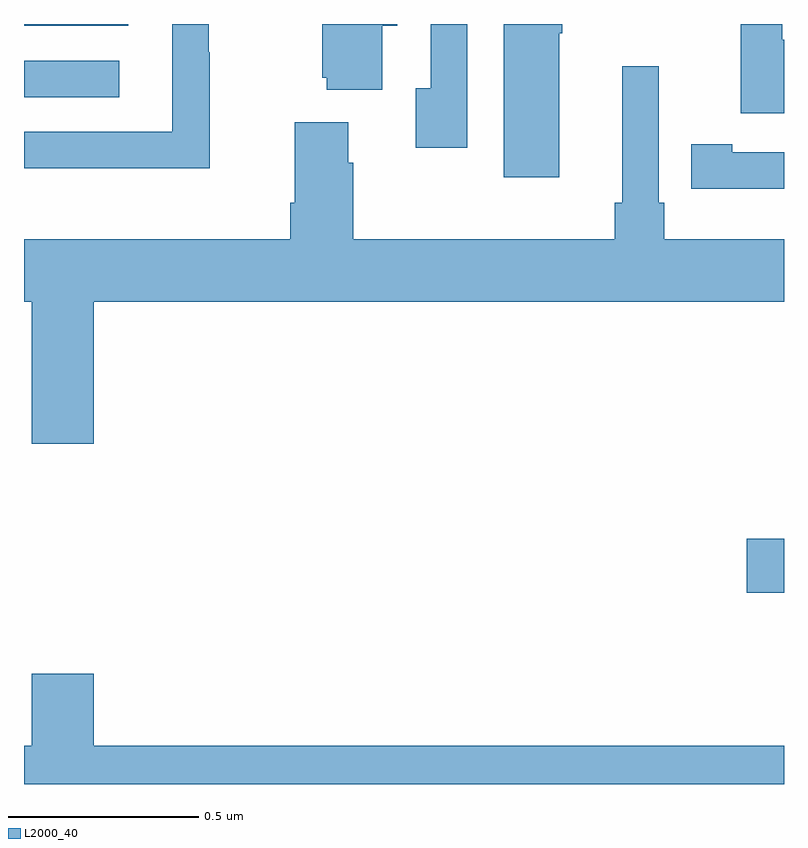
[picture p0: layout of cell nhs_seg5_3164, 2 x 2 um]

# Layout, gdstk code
import gdstk
lib = gdstk.Library(unit=1e-6, precision=1e-09)
def R(c, l, rs):  # rectangles x0, y0, x1, y1
    for r in rs: c.add(gdstk.rectangle(r[:2], r[2:], *l))
def P(c, l, *ps):  # polygons
    for p in ps: c.add(gdstk.Polygon(p, *l))
L2000_40 = (2000, 40)

nhs_seg5_3164 = lib.new_cell('nhs_seg5_3164')
R(nhs_seg5_3164, L2000_40, [(154.902,881.302,155,881.444), (153,882.606,153.25,882.702), (153,882.794,153.274,882.799)])
P(nhs_seg5_3164, L2000_40, [(153.943,882.794),(153.982,882.794),(153.982,882.799),(153.785,882.799),(153.785,882.657),(153.797,882.657),(153.797,882.626),(153.943,882.626)],
  [(154.408,882.775),(154.416,882.775),(154.416,882.799),(154.262,882.799),(154.262,882.396),(154.408,882.396)],
  [(154.167,882.799),(154.071,882.799),(154.071,882.63),(154.031,882.63),(154.031,882.474),(154.167,882.474)],
  [(153.489,882.725),(153.486,882.725),(153.486,882.799),(153.39,882.799),(153.39,882.516),(153,882.516),(153,882.42),(153.025,882.42),(153.025,882.419),(153.489,882.419)],
  [(155,882.758),(154.996,882.758),(154.996,882.799),(154.886,882.799),(154.886,882.564),(155,882.564)],
  [(153.184,882.068),(155,882.068),(155,882.232),(154.685,882.232),(154.685,882.328),(154.671,882.328),(154.671,882.688),(154.574,882.688),(154.574,882.328),(154.555,882.328),(154.555,882.232),(153.866,882.232),(153.866,882.434),(153.853,882.434),(153.853,882.541),(153.713,882.541),(153.713,882.328),(153.701,882.328),(153.701,882.232),(153,882.232),(153,882.068),(153.02,882.068),(153.02,881.694),(153.184,881.694)],
  [(155,882.462),(154.864,882.462),(154.864,882.482),(154.756,882.482),(154.756,882.366),(154.864,882.366),(154.864,882.365),(155,882.365)],
  [(155,880.9),(153.184,880.9),(153.184,881.089),(153.02,881.089),(153.02,880.9),(153,880.9),(153,880.799),(155,880.799)])

lib.write_gds('nhs_seg5_3164.gds')
